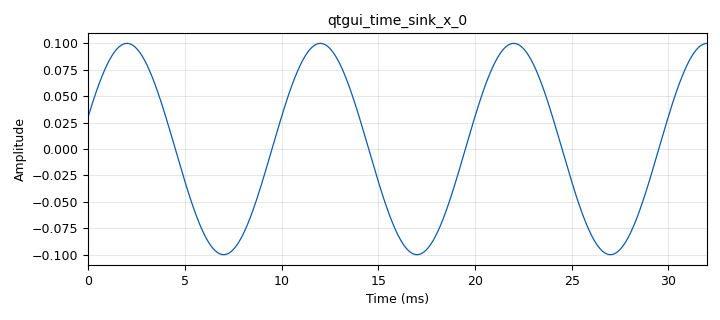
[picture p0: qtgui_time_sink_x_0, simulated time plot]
options:
  parameters:
    author: emmanuelkwakyenyantakyi
    generate_options: qt_gui
    id: xmlrpc_3_3
    output_language: python
    title: Reconfig of a GNU radio param through a remote command
  states: {}

blocks:
- name: ampl
  id: variable
  parameters:
    value: '0.1'
  states: {}
- name: freq
  id: variable
  parameters:
    value: '100'
  states: {}
- name: samp_rate
  id: variable
  parameters:
    value: '32000'
  states: {}
- name: analog_sig_source_x_0
  id: analog_sig_source_x
  parameters:
    amp: ampl
    freq: freq
    offset: '0'
    phase: '0'
    samp_rate: samp_rate
    type: float
    waveform: analog.GR_COS_WAVE
  states: {}
- name: blocks_throttle2_0
  id: blocks_throttle2
  parameters:
    samples_per_second: samp_rate
    type: float
  states: {}
- name: qtgui_time_sink_x_0
  id: qtgui_time_sink_x
  parameters:
    autoscale: 'True'
    size: '1024'
    srate: samp_rate
    type: float
  states: {}
- name: xmlrpc_server_0
  id: xmlrpc_server
  parameters:
    addr: localhost
    port: '8080'
  states: {}

connections:
- [analog_sig_source_x_0, '0', blocks_throttle2_0, '0']
- [blocks_throttle2_0, '0', qtgui_time_sink_x_0, '0']

metadata:
  file_format: 1
  grc_version: 3.10.12.0
